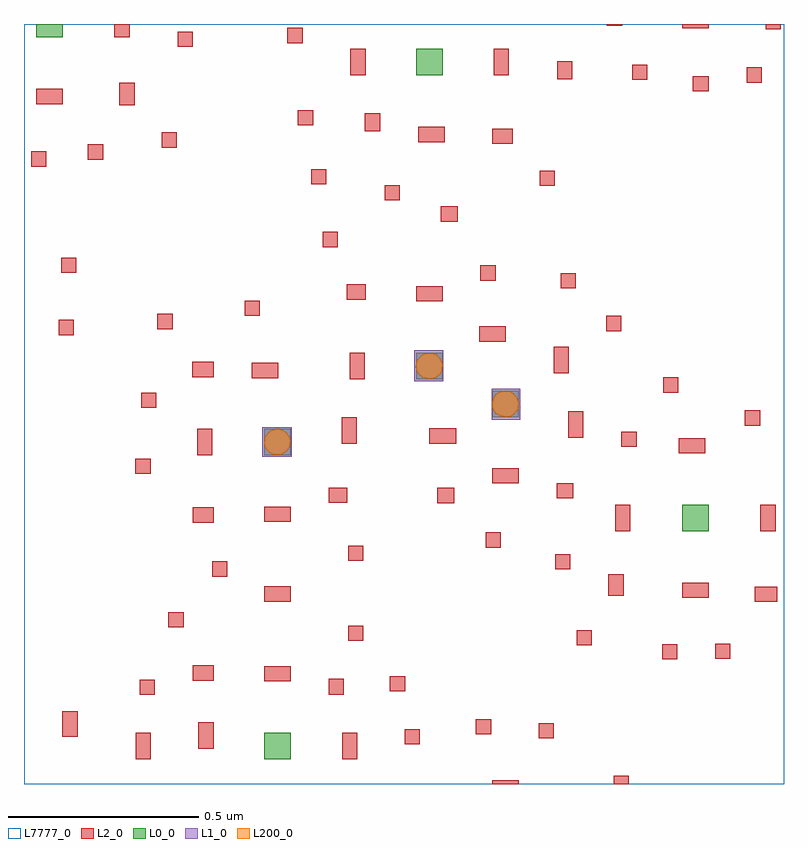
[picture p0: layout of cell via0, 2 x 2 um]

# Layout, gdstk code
import gdstk
lib = gdstk.Library(unit=1e-6, precision=1e-09)
def R(c, l, rs):  # rectangles x0, y0, x1, y1
    for r in rs: c.add(gdstk.rectangle(r[:2], r[2:], *l))
def A(c, l, x, y, w, h, nx, ny, dx, dy):  # array of equal rectangles
    R(c, l, [(x+i*dx, y+j*dy, x+i*dx+w, y+j*dy+h) for i in range(nx) for j in range(ny)])
def P(c, l, *ps):  # polygons
    for p in ps: c.add(gdstk.Polygon(p, *l))
L0_0 = (0, 0)
L1_0 = (1, 0)
L2_0 = (2, 0)
L200_0 = (200, 0)
L7777_0 = (7777, 0)

via0 = lib.new_cell('via0')
R(via0, L0_0, [(83.515,43.865,83.585,43.935), (84.615,44.465,84.685,44.535), (83.515,44.665,83.585,44.735), (84.115,44.765,84.185,44.835), (83.915,44.865,83.985,44.935), (83.915,45.665,83.985,45.735), (82.915,45.765,82.985,45.8)])
R(via0, L1_0, [(83.51,44.661,83.588,44.739), (84.114,44.759,84.189,44.84), (83.91,44.86,83.986,44.941)])
A(via0, L2_0, 83.515, 44.07, 0.07, 0.04, 1, 3, 0, 0.21)
R(via0, L2_0, [(84.115,43.8,84.185,43.81), (84.435,43.8,84.475,43.822), (83.177,43.865,83.217,43.935), (83.72,43.865,83.76,43.935), (83.342,43.893,83.382,43.963), (83.885,43.904,83.925,43.944), (84.237,43.92,84.277,43.96), (82.984,43.925,83.024,43.991), (84.072,43.931,84.112,43.971), (83.187,44.035,83.227,44.075), (83.685,44.035,83.725,44.077), (83.846,44.044,83.886,44.084), (83.327,44.072,83.382,44.112), (84.562,44.128,84.602,44.168), (84.702,44.129,84.742,44.169), (84.337,44.165,84.377,44.205), (83.736,44.177,83.776,44.217), (83.263,44.212,83.303,44.252), (84.806,44.279,84.865,44.319), (84.615,44.29,84.685,44.33), (84.421,44.295,84.461,44.352), (83.378,44.346,83.418,44.386), (84.281,44.365,84.321,44.405), (83.736,44.387,83.776,44.427), (84.098,44.422,84.138,44.462), (84.439,44.465,84.479,44.535), (84.821,44.465,84.861,44.535), (83.327,44.488,83.382,44.528), (83.97,44.539,84.015,44.579), (83.685,44.54,83.734,44.58), (84.285,44.552,84.328,44.592), (84.115,44.591,84.185,44.631), (83.176,44.616,83.216,44.656), (83.339,44.665,83.379,44.735), (84.606,44.67,84.676,44.71), (84.455,44.687,84.495,44.727), (83.719,44.695,83.759,44.765), (83.95,44.696,84.02,44.736), (84.315,44.711,84.355,44.781), (84.78,44.743,84.82,44.784), (83.191,44.79,83.231,44.83), (84.565,44.83,84.605,44.87), (83.74,44.865,83.78,44.935), (83.482,44.868,83.552,44.908), (83.326,44.871,83.382,44.911), (84.277,44.881,84.317,44.951), (84.081,44.964,84.151,45.004), (82.974,44.981,83.014,45.022), (84.415,44.992,84.455,45.032), (83.234,44.997,83.274,45.037), (83.464,45.032,83.504,45.072), (83.915,45.07,83.985,45.11), (83.732,45.075,83.782,45.115), (84.295,45.104,84.335,45.144), (84.084,45.125,84.125,45.165), (82.981,45.145,83.021,45.185), (83.669,45.213,83.709,45.253), (83.98,45.28,84.025,45.32), (83.832,45.336,83.872,45.376), (84.24,45.374,84.28,45.414), (83.639,45.378,83.679,45.418), (82.902,45.425,82.942,45.465), (83.051,45.443,83.091,45.483), (83.245,45.475,83.285,45.515), (84.115,45.485,84.169,45.525), (83.92,45.489,83.99,45.529), (83.78,45.518,83.82,45.565), (83.604,45.533,83.644,45.573), (83.134,45.586,83.174,45.646), (82.915,45.589,82.985,45.629), (84.643,45.623,84.685,45.663), (84.785,45.646,84.825,45.686), (84.483,45.653,84.523,45.693), (84.286,45.654,84.326,45.702), (83.742,45.665,83.782,45.735), (84.119,45.665,84.159,45.735), (83.287,45.74,83.327,45.78), (83.576,45.75,83.616,45.79), (83.121,45.765,83.161,45.8), (84.835,45.786,84.875,45.8), (84.615,45.789,84.685,45.8), (84.417,45.796,84.457,45.8)])
P(via0, L200_0, [(83.539,44.666),(83.527,44.673),(83.518,44.685),(83.515,44.694),(83.517,44.713),(83.523,44.722),(83.534,44.731),(83.545,44.735),(83.555,44.735),(83.564,44.732),(83.573,44.726),(83.582,44.713),(83.585,44.703),(83.582,44.687),(83.575,44.676),(83.56,44.666)],
  [(84.153,44.765),(84.137,44.768),(84.125,44.775),(84.117,44.786),(84.115,44.795),(84.116,44.812),(84.125,44.826),(84.135,44.832),(84.144,44.835),(84.162,44.833),(84.172,44.827),(84.181,44.816),(84.185,44.805),(84.183,44.786),(84.172,44.772),(84.162,44.767)],
  [(83.951,44.865),(83.932,44.869),(83.922,44.878),(83.916,44.887),(83.914,44.897),(83.917,44.915),(83.932,44.931),(83.939,44.934),(83.96,44.934),(83.969,44.929),(83.978,44.921),(83.985,44.906),(83.983,44.887),(83.978,44.878),(83.969,44.87),(83.96,44.866)])
R(via0, L7777_0, [(82.883,43.8,84.883,45.8)])

lib.write_gds('via0.gds')
